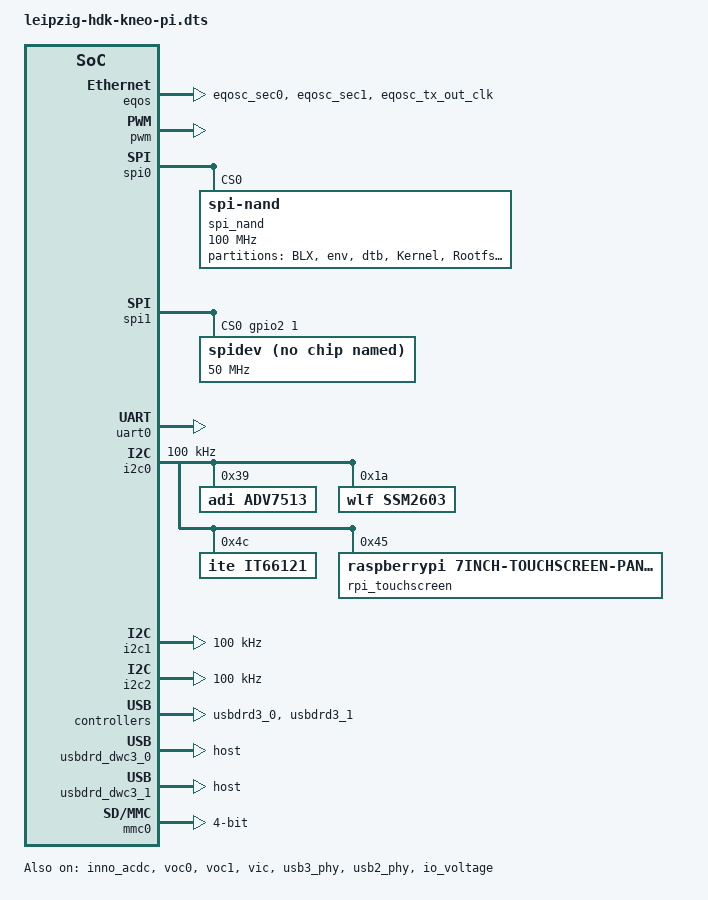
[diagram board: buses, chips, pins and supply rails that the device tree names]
// SPDX-License-Identifier: GPL-2.0-only
/*
 *
 * Copyright (C) 2024 VATICS Inc.
 *
 */
/dts-v1/;

/* reserved memory definitions */
#define SECURE_MEM_BASE 4000000
#define SECURE_MEM_SIZE 0x1000000
#define VQ7_MEM_BASE 5000000
#define VQ7_MEM_SIZE 0x1FFF000
#define VQ7_LOG_MEM_BASE 6FFF000
#define VQ7_LOG_MEM_SIZE 0x1000
#define RTOS_MEM_BASE 7000000
#define RTOS_MEM_SIZE 0x400000
#define EDMC_MEM_BASE D400000
#define EDMC_MEM_SIZE 0x32C00000
/*#define EDMC_MEM_SIZE 0x5AC00000*/

#include <dt-bindings/gpio/gpio.h>
#include "leipzig.dtsi"
#include "leipzig-evm-pinctrl.dtsi"
#include "leipzig_parallel_sensor.dtsi"
#include "leipzig_mipi_sensor.dtsi"

/ {
	soc {
		eqos: dweqos@c4000000 {
			status = "okay";
			pinctrl-names = "default";
			pinctrl-0 = <&eqosc_pins>;
		};
		agpo: vpl_agpo@ce100000 {
			status = "okay";
		};

		pwm: pwm {
			compatible = "vatics,vpl-agpo-pwm";
			#pwm-cells = <3>;
			status = "okay";
		};
	};
};


&pinctrl {
	state_default: pinmuxing {
		monitor_clk_pins: monitor_clk {
			/delete-property/ function;
			/delete-property/ groups;
		};
		ca55u_dbg_pins: ca55u {
			/delete-property/ function;
			/delete-property/ groups;
		};
		scrtu_dbg_pins: scrtu {
			/delete-property/ function;
			/delete-property/ groups;
		};
		agpo0_pos3_pins: agpo0 {
			function = "agpo0";
			groups = "agpo0_pos3";
		};
		agpo1_pos3_pins: agpo1 {
			function = "agpo1";
			groups = "agpo1_pos3";
		};
	};

	eqosc_pins: eqosc {
		function = "eqosc";
		groups = "eqosc_sec0", "eqosc_sec1",
			 "eqosc_tx_out_clk";
	};

	voc1_pins: voc1 {
		mux {
			function = "voc";
			groups = "voc1_sec1", "voc1_sec5", "voc1_sec6",
				 "voc1_clk_pos0";
			drive-strength = <2>;
		};
	};

};

&spi0 {
	status = "okay";
	rx-sample-delay-ns = <10>;
	pinctrl-names = "default";
	pinctrl-0 = <&ssic0_quad_pins>;
	/delete-property/ cs-gpios;
	spi_nand@0 {
		#address-cells = <1>;
		#size-cells = <1>;
		compatible = "spi-nand";
		spi-tx-bus-width = <2>;
		spi-rx-bus-width = <2>;
		reg = <0>;
		spi-max-frequency = <100000000>;
		m25p,fast-read;
		spi-cpha;
		spi-cpol;
		partitions {
			compatible = "fixed-partitions";
			#address-cells = <1>;
			#size-cells = <1>;
			/*BL2 + BL31*/
			partition@0 {
				label = "BLX";
				reg = <0x00000000 0x00140000>;
			};
			partition@1 {
				label = "env";
				reg = <0x00140000 0x00080000>;
			};
			partition@2 {
				label = "dtb";
				reg = <0x001C0000 0x00080000>;
			};
			partition@3 {
				label = "Kernel";
				reg = <0x00340000 0x01280000>;
			};
			partition@4 {
				label = "Rootfs";
				reg = <0x01DC0000 0x01800000>;
			};
			partition@5 {
				label = "Ubifs";
				reg = <0x035C0000 0x0CA40000>;
			};
			partition@6 {
				label = "U-Boot";
				reg = <0x00240000 0x00100000>;
			};
			partition@7 {
				label = "OP-TEE";
				reg = <0x015C0000 0x00800000>;
			};
		};
	};
};
&spi1 {
	status = "okay";
	rx-sample-delay-ns = <10>;
	pinctrl-names = "default";
	pinctrl-0 = <&ssic1_pins>;
	cs-gpios = <&gpio2 1 0>;
	spidev@0 {
		status = "okay";
		#address-cells = <1>;
		#size-cells = <1>;
		compatible = "rohm,dh2228fv";
		reg = <0>;
		spi-max-frequency = <50000000>;
		spi-cpha;
		spi-cpol;
	};
	/* Small SPI LCD panel */
	st7789v: st7789v@0 {
		status = "disabled";
		#address-cells = <1>;
		#size-cells = <1>;
		compatible = "sitronix,st7789v";
		reg = <0>;
		spi-max-frequency = <25000000>;
		rgb;
		buswidth = <8>;
		rotate = <90>;
		fps = <30>;
		spi-cpol;
		spi-cpha;
		reset = <&gpio1 20 GPIO_ACTIVE_HIGH>;
		dc = <&gpio0 19 GPIO_ACTIVE_HIGH>;
		debug = <1>;
	};
};

&sound {
	status = "okay";
	/* Pin Control */
	pinctrl-names = "default";
	pinctrl-0 = <&i2s_slave_pins>;
	//pinctrl-0 = <&i2s_master_pins>;
	//pinctrl-0 = <&i2s_tx_slave_pins>, <&adcd_pdm_pins>;
	//pinctrl-0 = <&i2s_tx_master_pins>, <&adcd_pdm_pins>;
	/* Codec Application Combination */
	/* (I) Use internal codec only */
	compatible = "vtx,evm-machine";
	/* (II) Use external codec only */
	//compatible = "vtx,evm-ssm2603-machine"; /* SSM2603 */
	/* (III) Both use internal and external codecs */
	//compatible = "vtx,evm-inno-ssm2603-machine"; /* INNOSILICON and SSM2603 */
};

&inno_acdc {
	status = "okay";
	/* Digital Microphone */
	//adcdcc-pdm;
	//pdm-gain = <3>;
};

&uart0 {
	status = "okay";
	pinctrl-names = "default";
	pinctrl-0 = <&uart0_p0_s0_pins>;
};

&i2c0 {
	status = "okay";
	clock-frequency = <100000>;
	pinctrl-names = "default";
	pinctrl-0 = <&i2c0_pins>;
	/* HDMI Transmitter device: AD ADV7513 */
	adv7513@39 {
		compatible = "adi,adv7513";
		reg = <0x39>;
	};
	/* Audio Codec device: AD SSM2603 */
	ssm2603@1a {
		status = "okay";
		compatible = "wlf,ssm2603";
		reg = <0x1a>;
	};
	it66121@4c {
		status = "okay";
		compatible = "ite,it66121";
		reg = <0x4c>;
		offset = <0x88>;
		input,16bit,embedded-sync;
	};
	rpi_touchscreen:rpi_touchscreen@45{
		status = "okay";
		compatible = "raspberrypi,7inch-touchscreen-panel";
		reg = <0x45>;
	};
};

&i2c1 {
	status = "okay";
	clock-frequency = <100000>;
	pinctrl-names = "default";
	pinctrl-0 = <&i2c1_p1_pins>;
};

&i2c2 {
	status = "okay";
	clock-frequency = <100000>;
	pinctrl-names = "default";
	pinctrl-0 = <&i2c2_p1_pins>;
};

&gpio0 {
	status = "okay";
};

&gpio1 {
	status = "okay";
};

&gpio2 {
	status = "okay";
};

&voc0 {
	status = "okay";
};

&voc1 {
	status = "okay";
	pinctrl-names = "default";
	pinctrl-0 = <&voc1_pins>;
};

&vic {
	status = "okay";
	pinctrl-names = "default";
	pinctrl-0 = <&vic0_pins>;
};

/* usb3 */
&usbdrd3_0 {
	status = "okay";
};

&usbdrd_dwc3_0 {
	status = "okay";
	dr_mode = "host";
	/*dr_mode = "peripheral";*/
};

&usb3_phy {
	status = "okay";
};

&usbdrd3_1 {
	status = "okay";
};

&usbdrd_dwc3_1 {
	status = "okay";
	dr_mode = "host";
	/*dr_mode = "peripheral";*/
};

&usb2_phy {
	status = "okay";
};
&mmc0 {
	status = "okay";
	//bus-width = <8>;
	bus-width = <4>;
	/delete-property/ no-1-8-v;
	max-frequency = <100000000>;
	sd-uhs-sdr50;
	sd-uhs-sdr104;
	phy-clkdl = <70>;
	pinctrl-names = "default";
	/*pinctrl-0 = <&mshc_pins>;*/
	disable-wp;
	sdhci-caps-mask = <0x08000000 0x80000>; /* SDMA */
};

&mmc1 {
	status = "disabled";
	phy-clkdl = <0>;
};

&io_voltage {
	status = "okay";
	/*3300000, 2500000, 1800000*/
	pd1-default = <3300000>;
	pd5-default = <1800000>;
	pd6-default = <3300000>;
	pd9-default = <3300000>;
	pd10-default = <3300000>;
	pd11-default = <3300000>;
	pd13-default = <3300000>;
};

&pmu {
	status = "okay";

	rtc: sgc-rtc@0 {
		/*alarm = <&gpio2 14 0>;*/
	};
};

&soc{
	IMX219_0:IMX219@0 {
		compatible = "kneron,imx219";
		data_io_num = <4>;
		ref_clock_from_soc = <1>;
		reset_gpio_num = <0xFFF>;
		standby_gpio_num = <0xFFF>;
		i2c_bus_num = <1>;
		i2c_addr = <0x20>;
		frame_sync_mode = <0>;
		frame_sync_signal_num = <0xFFF>;
		clocks = <&clks CLK_VIC_O_REF>,
			 <&clks CLK_VIC_APB>;
		clock-names = "vic_o_ref_clk",
			      "vic_apb";
		sysc-regmap = <&sysctrl>;
	};
	OS05A10_1:OS05A10@1 {
		compatible = "vatics,os05a10";
		data_io_num = <8>;
		ref_clock_from_soc = <1>;
		reset_gpio_num = <0xFFF>;
		standby_gpio_num = <0xFFF>;
		i2c_bus_num = <2>;
		i2c_addr = <0x6C>;
		frame_sync_mode = <0>;
		frame_sync_signal_num = <0xFFF>;
		serial_lane_num = <4>;
		clocks = <&clks CLK_VIC_O_REF>,
			 <&clks CLK_VIC_APB>;
		clock-names = "vic_o_ref_clk",
			      "vic_apb";
		sysc-regmap = <&sysctrl>;
	};
	OS08A10_1:OS08A10@1 {
		compatible = "vatics,os08a10";
		data_io_num = <8>;
		ref_clock_from_soc = <1>;
		reset_gpio_num = <0xFFF>;
		standby_gpio_num = <0xFFF>;
		i2c_bus_num = <2>;
		i2c_addr = <0x6C>;
		frame_sync_mode = <0>;
		frame_sync_signal_num = <0xFFF>;
		clocks = <&clks CLK_VIC_O_REF>,
			 <&clks CLK_VIC_APB>;
		clock-names = "vic_o_ref_clk",
			      "vic_apb";
		sysc-regmap = <&sysctrl>;
	};
};
